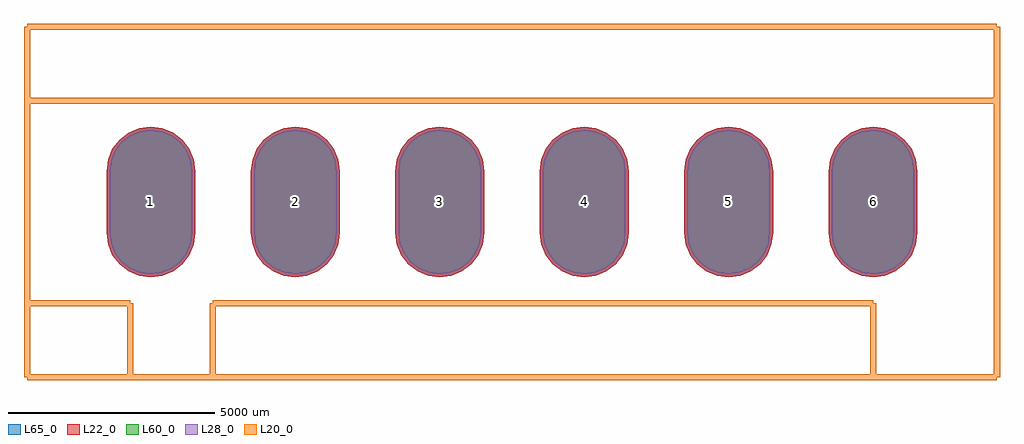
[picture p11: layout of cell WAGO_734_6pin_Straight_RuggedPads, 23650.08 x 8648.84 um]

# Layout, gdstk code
import gdstk
lib = gdstk.Library(unit=1e-6, precision=1e-09)
def P(c, l, *ps):  # polygons
    for p in ps: c.add(gdstk.Polygon(p, *l))
L20_0 = (20, 0)
L22_0 = (22, 0)
L28_0 = (28, 0)
L60_0 = (60, 0)
L65_0 = (65, 0)

wago_734_6pin_straight_r = lib.new_cell('WAGO_734_6pin_Straight_RuggedPads')
P(wago_734_6pin_straight_r, L22_0, [(8750.3,-1825.06),(9028.398,-1788.448),(9287.545,-1681.106),(9510.079,-1510.349),(9680.836,-1287.815),(9788.178,-1028.668),(9824.79,-750.57),(9824.79,750.57),(9788.178,1028.668),(9680.836,1287.815),(9510.079,1510.349),(9287.545,1681.106),(9028.398,1788.448),(8750.3,1825.06),(8472.202,1788.448),(8213.055,1681.106),(7990.521,1510.349),(7819.764,1287.815),(7712.422,1028.668),(7675.81,750.57),(7675.81,-750.57),(7712.422,-1028.668),(7819.764,-1287.815),(7990.521,-1510.349),(8213.055,-1681.106),(8472.202,-1788.448)],
  [(-8750.3,-1825.06),(-8472.202,-1788.448),(-8213.055,-1681.106),(-7990.521,-1510.349),(-7819.764,-1287.815),(-7712.422,-1028.668),(-7675.81,-750.57),(-7675.81,750.57),(-7712.422,1028.668),(-7819.764,1287.815),(-7990.521,1510.349),(-8213.055,1681.106),(-8472.202,1788.448),(-8750.3,1825.06),(-9028.398,1788.448),(-9287.545,1681.106),(-9510.079,1510.349),(-9680.836,1287.815),(-9788.178,1028.668),(-9824.79,750.57),(-9824.79,-750.57),(-9788.178,-1028.668),(-9680.836,-1287.815),(-9510.079,-1510.349),(-9287.545,-1681.106),(-9028.398,-1788.448)],
  [(5250.18,-1825.06),(5528.278,-1788.448),(5787.425,-1681.106),(6009.959,-1510.349),(6180.716,-1287.815),(6288.058,-1028.668),(6324.67,-750.57),(6324.67,750.57),(6288.058,1028.668),(6180.716,1287.815),(6009.959,1510.349),(5787.425,1681.106),(5528.278,1788.448),(5250.18,1825.06),(4972.082,1788.448),(4712.935,1681.106),(4490.401,1510.349),(4319.644,1287.815),(4212.302,1028.668),(4175.69,750.57),(4175.69,-750.57),(4212.302,-1028.668),(4319.644,-1287.815),(4490.401,-1510.349),(4712.935,-1681.106),(4972.082,-1788.448)],
  [(1750.06,-1825.06),(2028.158,-1788.448),(2287.305,-1681.106),(2509.839,-1510.349),(2680.596,-1287.815),(2787.938,-1028.668),(2824.55,-750.57),(2824.55,750.57),(2787.938,1028.668),(2680.596,1287.815),(2509.839,1510.349),(2287.305,1681.106),(2028.158,1788.448),(1750.06,1825.06),(1471.962,1788.448),(1212.815,1681.106),(990.281,1510.349),(819.524,1287.815),(712.182,1028.668),(675.57,750.57),(675.57,-750.57),(712.182,-1028.668),(819.524,-1287.815),(990.281,-1510.349),(1212.815,-1681.106),(1471.962,-1788.448)],
  [(-5250.18,-1825.06),(-4972.082,-1788.448),(-4712.935,-1681.106),(-4490.401,-1510.349),(-4319.644,-1287.815),(-4212.302,-1028.668),(-4175.69,-750.57),(-4175.69,750.57),(-4212.302,1028.668),(-4319.644,1287.815),(-4490.401,1510.349),(-4712.935,1681.106),(-4972.082,1788.448),(-5250.18,1825.06),(-5528.278,1788.448),(-5787.425,1681.106),(-6009.959,1510.349),(-6180.716,1287.815),(-6288.058,1028.668),(-6324.67,750.57),(-6324.67,-750.57),(-6288.058,-1028.668),(-6180.716,-1287.815),(-6009.959,-1510.349),(-5787.425,-1681.106),(-5528.278,-1788.448)],
  [(-1750.06,-1825.06),(-1471.962,-1788.448),(-1212.815,-1681.106),(-990.281,-1510.349),(-819.524,-1287.815),(-712.182,-1028.668),(-675.57,-750.57),(-675.57,750.57),(-712.182,1028.668),(-819.524,1287.815),(-990.281,1510.349),(-1212.815,1681.106),(-1471.962,1788.448),(-1750.06,1825.06),(-2028.158,1788.448),(-2287.305,1681.106),(-2509.839,1510.349),(-2680.596,1287.815),(-2787.938,1028.668),(-2824.55,750.57),(-2824.55,-750.57),(-2787.938,-1028.668),(-2680.596,-1287.815),(-2509.839,-1510.349),(-2287.305,-1681.106),(-2028.158,-1788.448)])
P(wago_734_6pin_straight_r, L28_0, [(8750.3,-1750.06),(9008.987,-1716.003),(9250.045,-1616.154),(9457.046,-1457.316),(9615.884,-1250.315),(9715.733,-1009.257),(9749.79,-750.57),(9749.79,750.57),(9715.733,1009.257),(9615.884,1250.315),(9457.046,1457.316),(9250.045,1616.154),(9008.987,1716.003),(8750.3,1750.06),(8491.613,1716.003),(8250.555,1616.154),(8043.554,1457.316),(7884.716,1250.315),(7784.867,1009.257),(7750.81,750.57),(7750.81,-750.57),(7784.867,-1009.257),(7884.716,-1250.315),(8043.554,-1457.316),(8250.555,-1616.154),(8491.613,-1716.003)],
  [(-8750.3,-1750.06),(-8491.613,-1716.003),(-8250.555,-1616.154),(-8043.554,-1457.316),(-7884.716,-1250.315),(-7784.867,-1009.257),(-7750.81,-750.57),(-7750.81,750.57),(-7784.867,1009.257),(-7884.716,1250.315),(-8043.554,1457.316),(-8250.555,1616.154),(-8491.613,1716.003),(-8750.3,1750.06),(-9008.987,1716.003),(-9250.045,1616.154),(-9457.046,1457.316),(-9615.884,1250.315),(-9715.733,1009.257),(-9749.79,750.57),(-9749.79,-750.57),(-9715.733,-1009.257),(-9615.884,-1250.315),(-9457.046,-1457.316),(-9250.045,-1616.154),(-9008.987,-1716.003)],
  [(5250.18,-1750.06),(5508.867,-1716.003),(5749.925,-1616.154),(5956.926,-1457.316),(6115.764,-1250.315),(6215.613,-1009.257),(6249.67,-750.57),(6249.67,750.57),(6215.613,1009.257),(6115.764,1250.315),(5956.926,1457.316),(5749.925,1616.154),(5508.867,1716.003),(5250.18,1750.06),(4991.493,1716.003),(4750.435,1616.154),(4543.434,1457.316),(4384.596,1250.315),(4284.747,1009.257),(4250.69,750.57),(4250.69,-750.57),(4284.747,-1009.257),(4384.596,-1250.315),(4543.434,-1457.316),(4750.435,-1616.154),(4991.493,-1716.003)],
  [(1750.06,-1750.06),(2008.747,-1716.003),(2249.805,-1616.154),(2456.806,-1457.316),(2615.644,-1250.315),(2715.493,-1009.257),(2749.55,-750.57),(2749.55,750.57),(2715.493,1009.257),(2615.644,1250.315),(2456.806,1457.316),(2249.805,1616.154),(2008.747,1716.003),(1750.06,1750.06),(1491.373,1716.003),(1250.315,1616.154),(1043.314,1457.316),(884.476,1250.315),(784.627,1009.257),(750.57,750.57),(750.57,-750.57),(784.627,-1009.257),(884.476,-1250.315),(1043.314,-1457.316),(1250.315,-1616.154),(1491.373,-1716.003)],
  [(-5250.18,-1750.06),(-4991.493,-1716.003),(-4750.435,-1616.154),(-4543.434,-1457.316),(-4384.596,-1250.315),(-4284.747,-1009.257),(-4250.69,-750.57),(-4250.69,750.57),(-4284.747,1009.257),(-4384.596,1250.315),(-4543.434,1457.316),(-4750.435,1616.154),(-4991.493,1716.003),(-5250.18,1750.06),(-5508.867,1716.003),(-5749.925,1616.154),(-5956.926,1457.316),(-6115.764,1250.315),(-6215.613,1009.257),(-6249.67,750.57),(-6249.67,-750.57),(-6215.613,-1009.257),(-6115.764,-1250.315),(-5956.926,-1457.316),(-5749.925,-1616.154),(-5508.867,-1716.003)],
  [(-1750.06,-1750.06),(-1491.373,-1716.003),(-1250.315,-1616.154),(-1043.314,-1457.316),(-884.476,-1250.315),(-784.627,-1009.257),(-750.57,-750.57),(-750.57,750.57),(-784.627,1009.257),(-884.476,1250.315),(-1043.314,1457.316),(-1250.315,1616.154),(-1491.373,1716.003),(-1750.06,1750.06),(-2008.747,1716.003),(-2249.805,1616.154),(-2456.806,1457.316),(-2615.644,1250.315),(-2715.493,1009.257),(-2749.55,750.57),(-2749.55,-750.57),(-2715.493,-1009.257),(-2615.644,-1250.315),(-2456.806,-1457.316),(-2249.805,-1616.154),(-2008.747,-1716.003)])
P(wago_734_6pin_straight_r, L60_0, [(8750.3,-1750.06),(9008.987,-1716.003),(9250.045,-1616.154),(9457.046,-1457.316),(9615.884,-1250.315),(9715.733,-1009.257),(9749.79,-750.57),(9749.79,750.57),(9715.733,1009.257),(9615.884,1250.315),(9457.046,1457.316),(9250.045,1616.154),(9008.987,1716.003),(8750.3,1750.06),(8491.613,1716.003),(8250.555,1616.154),(8043.554,1457.316),(7884.716,1250.315),(7784.867,1009.257),(7750.81,750.57),(7750.81,-750.57),(7784.867,-1009.257),(7884.716,-1250.315),(8043.554,-1457.316),(8250.555,-1616.154),(8491.613,-1716.003)],
  [(-8750.3,-1750.06),(-8491.613,-1716.003),(-8250.555,-1616.154),(-8043.554,-1457.316),(-7884.716,-1250.315),(-7784.867,-1009.257),(-7750.81,-750.57),(-7750.81,750.57),(-7784.867,1009.257),(-7884.716,1250.315),(-8043.554,1457.316),(-8250.555,1616.154),(-8491.613,1716.003),(-8750.3,1750.06),(-9008.987,1716.003),(-9250.045,1616.154),(-9457.046,1457.316),(-9615.884,1250.315),(-9715.733,1009.257),(-9749.79,750.57),(-9749.79,-750.57),(-9715.733,-1009.257),(-9615.884,-1250.315),(-9457.046,-1457.316),(-9250.045,-1616.154),(-9008.987,-1716.003)],
  [(5250.18,-1750.06),(5508.867,-1716.003),(5749.925,-1616.154),(5956.926,-1457.316),(6115.764,-1250.315),(6215.613,-1009.257),(6249.67,-750.57),(6249.67,750.57),(6215.613,1009.257),(6115.764,1250.315),(5956.926,1457.316),(5749.925,1616.154),(5508.867,1716.003),(5250.18,1750.06),(4991.493,1716.003),(4750.435,1616.154),(4543.434,1457.316),(4384.596,1250.315),(4284.747,1009.257),(4250.69,750.57),(4250.69,-750.57),(4284.747,-1009.257),(4384.596,-1250.315),(4543.434,-1457.316),(4750.435,-1616.154),(4991.493,-1716.003)],
  [(1750.06,-1750.06),(2008.747,-1716.003),(2249.805,-1616.154),(2456.806,-1457.316),(2615.644,-1250.315),(2715.493,-1009.257),(2749.55,-750.57),(2749.55,750.57),(2715.493,1009.257),(2615.644,1250.315),(2456.806,1457.316),(2249.805,1616.154),(2008.747,1716.003),(1750.06,1750.06),(1491.373,1716.003),(1250.315,1616.154),(1043.314,1457.316),(884.476,1250.315),(784.627,1009.257),(750.57,750.57),(750.57,-750.57),(784.627,-1009.257),(884.476,-1250.315),(1043.314,-1457.316),(1250.315,-1616.154),(1491.373,-1716.003)],
  [(-5250.18,-1750.06),(-4991.493,-1716.003),(-4750.435,-1616.154),(-4543.434,-1457.316),(-4384.596,-1250.315),(-4284.747,-1009.257),(-4250.69,-750.57),(-4250.69,750.57),(-4284.747,1009.257),(-4384.596,1250.315),(-4543.434,1457.316),(-4750.435,1616.154),(-4991.493,1716.003),(-5250.18,1750.06),(-5508.867,1716.003),(-5749.925,1616.154),(-5956.926,1457.316),(-6115.764,1250.315),(-6215.613,1009.257),(-6249.67,750.57),(-6249.67,-750.57),(-6215.613,-1009.257),(-6115.764,-1250.315),(-5956.926,-1457.316),(-5749.925,-1616.154),(-5508.867,-1716.003)],
  [(-1750.06,-1750.06),(-1491.373,-1716.003),(-1250.315,-1616.154),(-1043.314,-1457.316),(-884.476,-1250.315),(-784.627,-1009.257),(-750.57,-750.57),(-750.57,750.57),(-784.627,1009.257),(-884.476,1250.315),(-1043.314,1457.316),(-1250.315,1616.154),(-1491.373,1716.003),(-1750.06,1750.06),(-2008.747,1716.003),(-2249.805,1616.154),(-2456.806,1457.316),(-2615.644,1250.315),(-2715.493,1009.257),(-2749.55,750.57),(-2749.55,-750.57),(-2715.493,-1009.257),(-2615.644,-1250.315),(-2456.806,-1457.316),(-2249.805,-1616.154),(-2008.747,-1716.003)])
P(wago_734_6pin_straight_r, L65_0, [(8750.3,-1825.06),(9028.398,-1788.448),(9287.545,-1681.106),(9510.079,-1510.349),(9680.836,-1287.815),(9788.178,-1028.668),(9824.79,-750.57),(9824.79,750.57),(9788.178,1028.668),(9680.836,1287.815),(9510.079,1510.349),(9287.545,1681.106),(9028.398,1788.448),(8750.3,1825.06),(8472.202,1788.448),(8213.055,1681.106),(7990.521,1510.349),(7819.764,1287.815),(7712.422,1028.668),(7675.81,750.57),(7675.81,-750.57),(7712.422,-1028.668),(7819.764,-1287.815),(7990.521,-1510.349),(8213.055,-1681.106),(8472.202,-1788.448)],
  [(-8750.3,-1825.06),(-8472.202,-1788.448),(-8213.055,-1681.106),(-7990.521,-1510.349),(-7819.764,-1287.815),(-7712.422,-1028.668),(-7675.81,-750.57),(-7675.81,750.57),(-7712.422,1028.668),(-7819.764,1287.815),(-7990.521,1510.349),(-8213.055,1681.106),(-8472.202,1788.448),(-8750.3,1825.06),(-9028.398,1788.448),(-9287.545,1681.106),(-9510.079,1510.349),(-9680.836,1287.815),(-9788.178,1028.668),(-9824.79,750.57),(-9824.79,-750.57),(-9788.178,-1028.668),(-9680.836,-1287.815),(-9510.079,-1510.349),(-9287.545,-1681.106),(-9028.398,-1788.448)],
  [(5250.18,-1825.06),(5528.278,-1788.448),(5787.425,-1681.106),(6009.959,-1510.349),(6180.716,-1287.815),(6288.058,-1028.668),(6324.67,-750.57),(6324.67,750.57),(6288.058,1028.668),(6180.716,1287.815),(6009.959,1510.349),(5787.425,1681.106),(5528.278,1788.448),(5250.18,1825.06),(4972.082,1788.448),(4712.935,1681.106),(4490.401,1510.349),(4319.644,1287.815),(4212.302,1028.668),(4175.69,750.57),(4175.69,-750.57),(4212.302,-1028.668),(4319.644,-1287.815),(4490.401,-1510.349),(4712.935,-1681.106),(4972.082,-1788.448)],
  [(1750.06,-1825.06),(2028.158,-1788.448),(2287.305,-1681.106),(2509.839,-1510.349),(2680.596,-1287.815),(2787.938,-1028.668),(2824.55,-750.57),(2824.55,750.57),(2787.938,1028.668),(2680.596,1287.815),(2509.839,1510.349),(2287.305,1681.106),(2028.158,1788.448),(1750.06,1825.06),(1471.962,1788.448),(1212.815,1681.106),(990.281,1510.349),(819.524,1287.815),(712.182,1028.668),(675.57,750.57),(675.57,-750.57),(712.182,-1028.668),(819.524,-1287.815),(990.281,-1510.349),(1212.815,-1681.106),(1471.962,-1788.448)],
  [(-5250.18,-1825.06),(-4972.082,-1788.448),(-4712.935,-1681.106),(-4490.401,-1510.349),(-4319.644,-1287.815),(-4212.302,-1028.668),(-4175.69,-750.57),(-4175.69,750.57),(-4212.302,1028.668),(-4319.644,1287.815),(-4490.401,1510.349),(-4712.935,1681.106),(-4972.082,1788.448),(-5250.18,1825.06),(-5528.278,1788.448),(-5787.425,1681.106),(-6009.959,1510.349),(-6180.716,1287.815),(-6288.058,1028.668),(-6324.67,750.57),(-6324.67,-750.57),(-6288.058,-1028.668),(-6180.716,-1287.815),(-6009.959,-1510.349),(-5787.425,-1681.106),(-5528.278,-1788.448)],
  [(-1750.06,-1825.06),(-1471.962,-1788.448),(-1212.815,-1681.106),(-990.281,-1510.349),(-819.524,-1287.815),(-712.182,-1028.668),(-675.57,-750.57),(-675.57,750.57),(-712.182,1028.668),(-819.524,1287.815),(-990.281,1510.349),(-1212.815,1681.106),(-1471.962,1788.448),(-1750.06,1825.06),(-2028.158,1788.448),(-2287.305,1681.106),(-2509.839,1510.349),(-2680.596,1287.815),(-2787.938,1028.668),(-2824.55,750.57),(-2824.55,-750.57),(-2787.938,-1028.668),(-2680.596,-1287.815),(-2509.839,-1510.349),(-2287.305,-1681.106),(-2028.158,-1788.448)])
wago_734_6pin_straight_r.add(gdstk.FlexPath([(-11750.04,-4249.42),(0,-4249.42)], 149.998, ends="flush", simple_path=True, layer=20, datatype=0))  # L20_0
wago_734_6pin_straight_r.add(gdstk.FlexPath([(-11750.04,4249.42),(-11750.04,-4249.42)], 149.998, ends="flush", simple_path=True, layer=20, datatype=0))  # L20_0
wago_734_6pin_straight_r.add(gdstk.FlexPath([(11750.04,4249.42),(-11750.04,4249.42)], 149.998, ends="flush", simple_path=True, layer=20, datatype=0))  # L20_0
wago_734_6pin_straight_r.add(gdstk.FlexPath([(11750.04,-4249.42),(11750.04,4249.42)], 149.998, ends="flush", simple_path=True, layer=20, datatype=0))  # L20_0
wago_734_6pin_straight_r.add(gdstk.FlexPath([(0,-4249.42),(11750.04,-4249.42)], 149.998, ends="flush", simple_path=True, layer=20, datatype=0))  # L20_0
wago_734_6pin_straight_r.add(gdstk.FlexPath([(-9250.68,-2451.1),(-9250.68,-4201.16)], 149.998, ends="flush", simple_path=True, layer=20, datatype=0))  # L20_0
wago_734_6pin_straight_r.add(gdstk.FlexPath([(-11750.04,-2451.1),(-9250.68,-2451.1)], 149.998, ends="flush", simple_path=True, layer=20, datatype=0))  # L20_0
wago_734_6pin_straight_r.add(gdstk.FlexPath([(-7249.16,-4249.42),(-7249.16,-2451.1)], 149.998, ends="flush", simple_path=True, layer=20, datatype=0))  # L20_0
wago_734_6pin_straight_r.add(gdstk.FlexPath([(8750.3,-2451.1),(-7249.16,-2451.1)], 149.998, ends="flush", simple_path=True, layer=20, datatype=0))  # L20_0
wago_734_6pin_straight_r.add(gdstk.FlexPath([(8750.3,-4249.42),(8750.3,-2451.1)], 149.998, ends="flush", simple_path=True, layer=20, datatype=0))  # L20_0
wago_734_6pin_straight_r.add(gdstk.FlexPath([(-11750.04,2451.1),(11750.04,2451.1)], 149.998, ends="flush", simple_path=True, layer=20, datatype=0))  # L20_0
wago_734_6pin_straight_r.add(gdstk.Label('6', (8750.3,0), layer=28, texttype=0))
wago_734_6pin_straight_r.add(gdstk.Label('1', (-8750.3,0), layer=28, texttype=0))
wago_734_6pin_straight_r.add(gdstk.Label('5', (5250.18,0), layer=28, texttype=0))
wago_734_6pin_straight_r.add(gdstk.Label('4', (1750.06,0), layer=28, texttype=0))
wago_734_6pin_straight_r.add(gdstk.Label('2', (-5250.18,0), layer=28, texttype=0))
wago_734_6pin_straight_r.add(gdstk.Label('3', (-1750.06,0), layer=28, texttype=0))
wago_734_6pin_straight_r.add(gdstk.Label('type', (0,-6350), layer=9, texttype=0))
wago_734_6pin_straight_r.add(gdstk.Label('devicename', (0,6350), layer=9, texttype=0))

lib.write_gds('WAGO_734_6pin_Straight_RuggedPads.gds')
